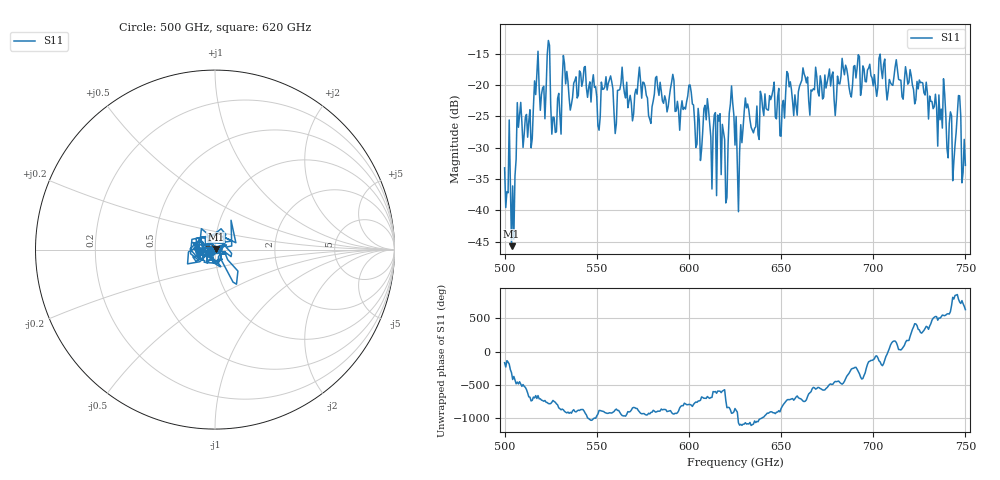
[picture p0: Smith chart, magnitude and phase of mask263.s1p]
!Created with skrf (http://scikit-rf.org).
# GHz S MA R 50.0
!freq magS11 angS11
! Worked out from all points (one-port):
!   401 points, 500 GHz to 750 GHz, reference 50 ohm
!   lowest |S11| = -45.7 dB at 503.8 GHz (marker M1), VSWR 1.01, Z = 50.4 + j0.363 ohm
!   |S11| at or under -10 dB: start of sweep to end of sweep
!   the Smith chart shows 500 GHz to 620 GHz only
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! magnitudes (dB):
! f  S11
! 500 GHz  -33.2
! 503.8 GHz  -45.7
! 505 GHz  -44.6
! 508.1 GHz  -24.8
! 513.8 GHz  -23.9
! 517.5 GHz  -18.2
! 520.6 GHz  -20.4
! 523.8 GHz  -12.9
! 526.9 GHz  -25.2
! 531.2 GHz  -19.3
! 560.6 GHz  -26.2
! 562.5 GHz  -20.7
! 593.8 GHz  -22.6
! 600.6 GHz  -20.0
! 605.6 GHz  -25.6
! 609.4 GHz  -25.6
! 620 GHz  -38.8
! 623.1 GHz  -20.1
! 625 GHz  -29.6
! 627.5 GHz  -30.7
! 631.2 GHz  -23.6
! 656.2 GHz  -22.6
! 687.5 GHz  -21.4
! 718.8 GHz  -19.9
! 738.1 GHz  -19.0
! 743.8 GHz  -32.2
! 746.2 GHz  -21.7
! 750 GHz  -32.8
